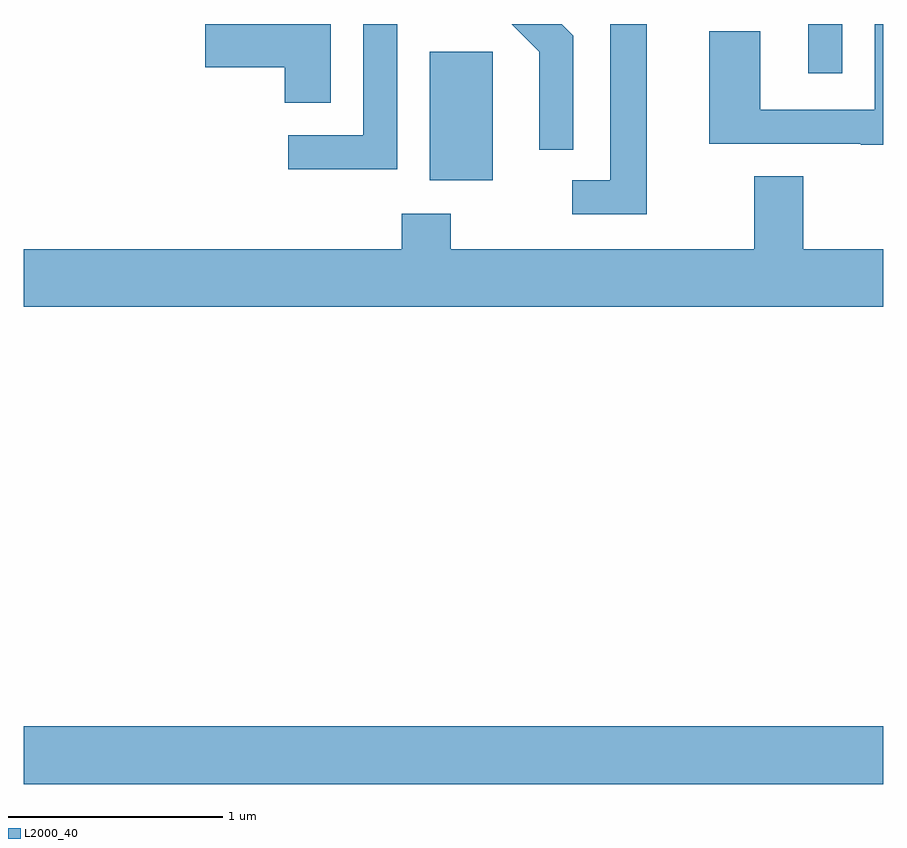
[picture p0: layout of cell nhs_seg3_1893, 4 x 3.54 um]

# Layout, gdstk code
import gdstk
lib = gdstk.Library(unit=1e-6, precision=1e-09)
def R(c, l, rs):  # rectangles x0, y0, x1, y1
    for r in rs: c.add(gdstk.rectangle(r[:2], r[2:], *l))
def P(c, l, *ps):  # polygons
    for p in ps: c.add(gdstk.Polygon(p, *l))
L2000_40 = (2000, 40)

nhs_seg3_1893 = lib.new_cell('nhs_seg3_1893')
R(nhs_seg3_1893, L2000_40, [(239.611,1230.356,243.611,1230.624), (241.501,1233.166,241.794,1233.764), (243.261,1233.663,243.419,1233.892)])
P(nhs_seg3_1893, L2000_40, [(241.349,1233.892),(241.191,1233.892),(241.191,1233.374),(240.843,1233.374),(240.843,1233.216),(241.349,1233.216)],
  [(242.169,1233.837),(242.114,1233.892),(241.883,1233.892),(242.011,1233.764),(242.011,1233.308),(242.169,1233.308)],
  [(242.509,1233.892),(242.341,1233.892),(242.341,1233.164),(242.163,1233.164),(242.163,1233.006),(242.509,1233.006)],
  [(243.611,1233.892),(243.571,1233.892),(243.571,1233.494),(243.039,1233.494),(243.039,1233.859),(242.801,1233.859),(242.801,1233.336),(243.505,1233.336),(243.505,1233.331),(243.611,1233.331)],
  [(241.039,1233.892),(240.456,1233.892),(240.456,1233.691),(240.826,1233.691),(240.826,1233.526),(241.039,1233.526)],
  [(243.611,1232.844),(243.239,1232.844),(243.239,1233.184),(243.011,1233.184),(243.011,1232.844),(241.599,1232.844),(241.599,1233.009),(241.371,1233.009),(241.371,1232.844),(239.611,1232.844),(239.611,1232.576),(243.611,1232.576)])

lib.write_gds('nhs_seg3_1893.gds')
